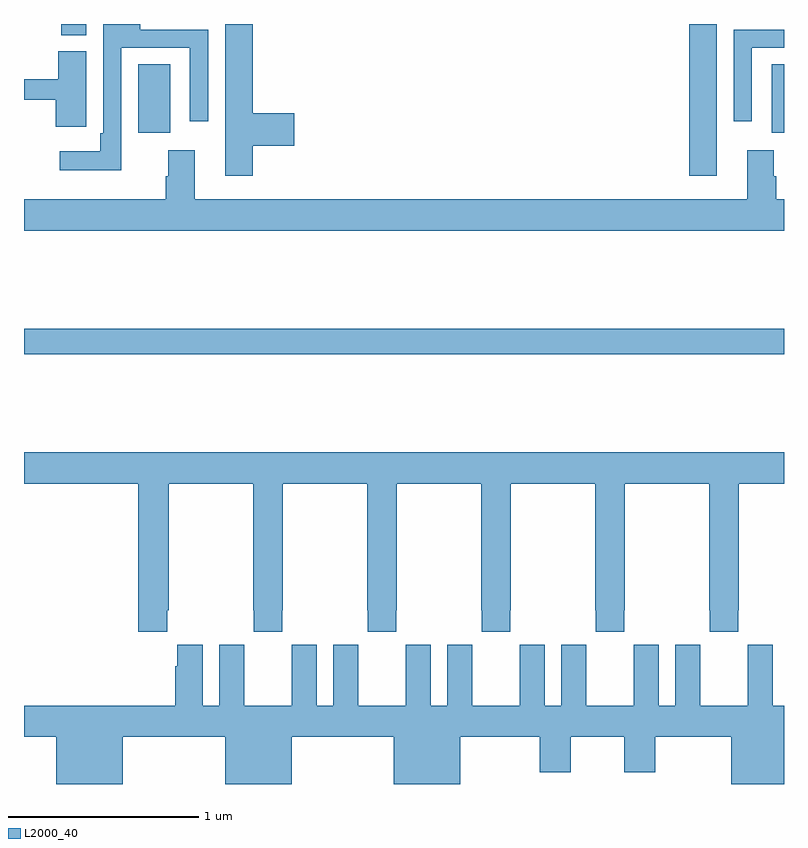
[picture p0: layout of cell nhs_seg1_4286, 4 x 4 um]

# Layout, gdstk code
import gdstk
lib = gdstk.Library(unit=1e-6, precision=1e-09)
def R(c, l, rs):  # rectangles x0, y0, x1, y1
    for r in rs: c.add(gdstk.rectangle(r[:2], r[2:], *l))
def P(c, l, *ps):  # polygons
    for p in ps: c.add(gdstk.Polygon(p, *l))
L2000_40 = (2000, 40)

nhs_seg1_4286 = lib.new_cell('nhs_seg1_4286')
R(nhs_seg1_4286, L2000_40, [(345,504.46,349,504.596), (348.5,505.401,348.646,506.199), (345.602,505.626,345.769,505.988), (348.935,505.626,349,505.988), (345.197,506.14,345.328,506.199)])
P(nhs_seg1_4286, L2000_40, [(345.513,506.073),(345.873,506.073),(345.873,505.686),(345.969,505.686),(345.969,506.169),(345.613,506.169),(345.613,506.199),(345.417,506.199),(345.417,505.624),(345.401,505.624),(345.401,505.528),(345.189,505.528),(345.189,505.43),(345.513,505.43)],
  [(346.205,505.559),(346.423,505.559),(346.423,505.73),(346.205,505.73),(346.205,506.199),(346.058,506.199),(346.058,505.401),(346.205,505.401)],
  [(348.831,506.073),(349,506.073),(349,506.169),(348.735,506.169),(348.735,505.686),(348.831,505.686)],
  [(345.327,505.771),(345.328,505.771),(345.328,506.055),(345.179,506.055),(345.179,505.909),(345,505.909),(345,505.8),(345.167,505.8),(345.167,505.659),(345.327,505.659)],
  [(349,505.276),(348.959,505.276),(348.959,505.397),(348.946,505.397),(348.946,505.534),(348.806,505.534),(348.806,505.276),(345.898,505.276),(345.898,505.534),(345.758,505.534),(345.758,505.397),(345.746,505.397),(345.746,505.276),(345,505.276),(345,505.112),(349,505.112)],
  [(345.755,503.113),(345.762,503.113),(345.762,503.78),(346.207,503.78),(346.207,503.113),(346.209,503.113),(346.209,503.001),(346.359,503.001),(346.359,503.113),(346.362,503.113),(346.362,503.78),(346.807,503.78),(346.807,503.113),(346.809,503.113),(346.809,503.001),(346.959,503.001),(346.959,503.113),(346.962,503.113),(346.962,503.78),(347.407,503.78),(347.407,503.113),(347.409,503.113),(347.409,503.001),(347.559,503.001),(347.559,503.113),(347.562,503.113),(347.562,503.78),(348.007,503.78),(348.007,503.113),(348.009,503.113),(348.009,503.001),(348.159,503.001),(348.159,503.113),(348.162,503.113),(348.162,503.78),(348.607,503.78),(348.607,503.113),(348.609,503.113),(348.609,503.001),(348.759,503.001),(348.759,503.113),(348.762,503.113),(348.762,503.78),(349,503.78),(349,503.944),(345,503.944),(345,503.78),(345.602,503.78),(345.602,503.001),(345.755,503.001)],
  [(348.722,502.199),(349,502.199),(349,502.612),(348.94,502.612),(348.94,502.933),(348.81,502.933),(348.81,502.82),(348.809,502.82),(348.809,502.612),(348.559,502.612),(348.559,502.82),(348.558,502.82),(348.558,502.933),(348.428,502.933),(348.428,502.612),(348.34,502.612),(348.34,502.933),(348.21,502.933),(348.21,502.82),(348.209,502.82),(348.209,502.612),(347.959,502.612),(347.959,502.82),(347.958,502.82),(347.958,502.933),(347.828,502.933),(347.828,502.612),(347.74,502.612),(347.74,502.933),(347.61,502.933),(347.61,502.82),(347.609,502.82),(347.609,502.612),(347.359,502.612),(347.359,502.82),(347.358,502.82),(347.358,502.933),(347.228,502.933),(347.228,502.612),(347.14,502.612),(347.14,502.933),(347.01,502.933),(347.01,502.82),(347.009,502.82),(347.009,502.612),(346.759,502.612),(346.759,502.82),(346.758,502.82),(346.758,502.933),(346.628,502.933),(346.628,502.612),(346.54,502.612),(346.54,502.933),(346.41,502.933),(346.41,502.82),(346.409,502.82),(346.409,502.612),(346.159,502.612),(346.159,502.82),(346.158,502.82),(346.158,502.933),(346.028,502.933),(346.028,502.612),(345.94,502.612),(345.94,502.933),(345.806,502.933),(345.806,502.82),(345.797,502.82),(345.797,502.612),(345,502.612),(345,502.448),(345.17,502.448),(345.17,502.199),(345.52,502.199),(345.52,502.448),(346.058,502.448),(346.058,502.199),(346.408,502.199),(346.408,502.448),(346.946,502.448),(346.946,502.199),(347.296,502.199),(347.296,502.448),(347.714,502.448),(347.714,502.26),(347.878,502.26),(347.878,502.448),(348.158,502.448),(348.158,502.26),(348.322,502.26),(348.322,502.448),(348.722,502.448)])

lib.write_gds('nhs_seg1_4286.gds')
